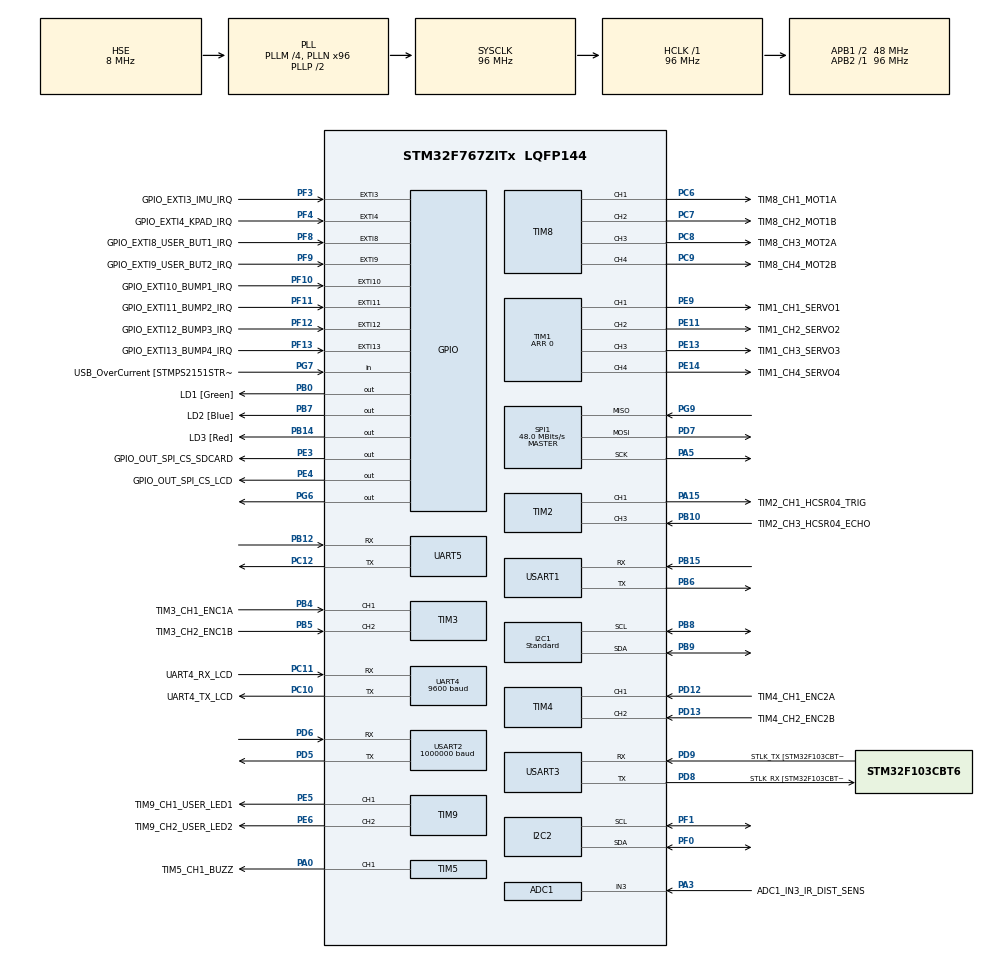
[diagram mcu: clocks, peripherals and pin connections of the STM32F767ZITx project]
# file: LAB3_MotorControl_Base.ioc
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ADC1.Channel-1\#ChannelRegularConversion=ADC_CHANNEL_3
ADC1.NbrOfConversionFlag=1
ADC1.Rank-1\#ChannelRegularConversion=1
ADC1.SamplingTime-1\#ChannelRegularConversion=ADC_SAMPLETIME_3CYCLES
ADC1.master=1
I2C1.I2C_Speed_Mode=I2C_Standard
I2C1.Timing=0x20303E5D
I2C2.Timing=0x20303E5D
Mcu.Family=STM32F7
Mcu.Name=STM32F767ZITx
Mcu.Package=LQFP144
Mcu.UserConstants=TIM3_ARR_VALUE,3839;TIM4_ARR_VALUE,3839;TIM8_PSC_VALUE,959;TIM8_ARR_VALUE,399;TIM6_PSC_VALUE,959;TIM6_ARR_VALUE,999;TIM1_PSC_VALUE,959;TIM1_ARR_VALUE,1999
NVIC.EXTI4_IRQn=true\:0\:0\:true\:false\:true\:true\:true\:true
NVIC.PriorityGroup=NVIC_PRIORITYGROUP_4
NVIC.TIM6_DAC_IRQn=true\:7\:0\:true\:false\:true\:true\:true\:true
PA0/WKUP.GPIO_Label=TIM5_CH1_BUZZ
PA0/WKUP.Signal=S_TIM5_CH1
PA1.GPIO_Label=RMII_REF_CLK [LAN8742A-CZ-TR_REFCLK0]
PA1.Signal=ETH_REF_CLK
PA10.GPIO_Label=USB_ID
PA10.Signal=USB_OTG_FS_ID
PA11.GPIO_Label=USB_DM
PA11.Signal=USB_OTG_FS_DM
PA12.GPIO_Label=USB_DP
PA12.Signal=USB_OTG_FS_DP
PA13.GPIO_Label=TMS
PA13.Mode=Serial_Wire
PA13.Signal=SYS_JTMS-SWDIO
PA14.GPIO_Label=TCK
PA14.Mode=Serial_Wire
PA14.Signal=SYS_JTCK-SWCLK
PA15.GPIO_Label=TIM2_CH1_HCSR04_TRIG
PA15.Signal=S_TIM2_CH1_ETR
PA2.GPIO_Label=RMII_MDIO [LAN8742A-CZ-TR_MDIO]
PA2.Signal=ETH_MDIO
PA3.GPIO_Label=ADC1_IN3_IR_DIST_SENS
PA3.Signal=ADCx_IN3
PA5.Mode=Full_Duplex_Master
PA5.Signal=SPI1_SCK
PA7.GPIO_Label=RMII_CRS_DV [LAN8742A-CZ-TR_CRS_DV]
PA7.Signal=ETH_CRS_DV
PA8.GPIO_Label=USB_SOF [TP1]
PA8.Signal=USB_OTG_FS_SOF
PA9.GPIO_Label=USB_VBUS
PA9.Signal=USB_OTG_FS_VBUS
PB0.GPIO_Label=LD1 [Green]
PB0.Signal=GPIO_Output
PB10.GPIO_Label=TIM2_CH3_HCSR04_ECHO
PB10.Signal=S_TIM2_CH3
PB12.Mode=Asynchronous
PB12.Signal=UART5_RX
PB13.GPIO_Label=RMII_TXD1 [LAN8742A-CZ-TR_TXD1]
PB13.Signal=ETH_TXD1
PB14.GPIO_Label=LD3 [Red]
PB14.Signal=GPIO_Output
PB15.Mode=Asynchronous
PB15.Signal=USART1_RX
PB3.GPIO_Label=SWO
PB3.Signal=SYS_JTDO-SWO
PB4.GPIO_Label=TIM3_CH1_ENC1A
PB4.Signal=S_TIM3_CH1
PB5.GPIO_Label=TIM3_CH2_ENC1B
PB5.Signal=S_TIM3_CH2
PB6.Mode=Asynchronous
PB6.Signal=USART1_TX
PB7.GPIO_Label=LD2 [Blue]
PB7.Signal=GPIO_Output
PB8.GPIO_Pu=GPIO_PULLUP
PB8.Mode=I2C
PB8.Signal=I2C1_SCL
PB9.GPIO_Pu=GPIO_PULLUP
PB9.Mode=I2C
PB9.Signal=I2C1_SDA
PC1.GPIO_Label=RMII_MDC [LAN8742A-CZ-TR_MDC]
PC1.Signal=ETH_MDC
PC10.GPIO_Label=UART4_TX_LCD
PC10.Mode=Asynchronous
PC10.Signal=UART4_TX
PC11.GPIO_Label=UART4_RX_LCD
PC11.Mode=Asynchronous
PC11.Signal=UART4_RX
PC12.Mode=Asynchronous
PC12.Signal=UART5_TX
PC14/OSC32_IN.Mode=LSE-External-Oscillator
PC14/OSC32_IN.Signal=RCC_OSC32_IN
PC15/OSC32_OUT.Mode=LSE-External-Oscillator
PC15/OSC32_OUT.Signal=RCC_OSC32_OUT
PC4.GPIO_Label=RMII_RXD0 [LAN8742A-CZ-TR_RXD0]
PC4.Signal=ETH_RXD0
PC5.GPIO_Label=RMII_RXD1 [LAN8742A-CZ-TR_RXD1]
PC5.Signal=ETH_RXD1
PC6.GPIO_Label=TIM8_CH1_MOT1A
PC6.Signal=S_TIM8_CH1
PC7.GPIO_Label=TIM8_CH2_MOT1B
PC7.Signal=S_TIM8_CH2
PC8.GPIO_Label=TIM8_CH3_MOT2A
PC8.Signal=S_TIM8_CH3
PC9.GPIO_Label=TIM8_CH4_MOT2B
PC9.Signal=S_TIM8_CH4
PD12.GPIO_Label=TIM4_CH1_ENC2A
PD12.Signal=S_TIM4_CH1
PD13.GPIO_Label=TIM4_CH2_ENC2B
PD13.Signal=S_TIM4_CH2
PD5.Mode=Asynchronous
PD5.Signal=USART2_TX
PD6.Mode=Asynchronous
PD6.Signal=USART2_RX
PD7.Mode=Full_Duplex_Master
PD7.Signal=SPI1_MOSI
PD8.GPIO_Label=STLK_RX [STM32F103CBT6_PA3]
PD8.Mode=Asynchronous
PD8.Signal=USART3_TX
PD9.GPIO_Label=STLK_TX [STM32F103CBT6_PA2]
PD9.Mode=Asynchronous
PD9.Signal=USART3_RX
PE11.GPIO_Label=TIM1_CH2_SERVO2
PE11.Signal=S_TIM1_CH2
PE13.GPIO_Label=TIM1_CH3_SERVO3
PE13.Signal=S_TIM1_CH3
PE14.GPIO_Label=TIM1_CH4_SERVO4
PE14.Signal=S_TIM1_CH4
PE3.GPIO_Label=GPIO_OUT_SPI_CS_SDCARD
PE3.Signal=GPIO_Output
PE4.GPIO_Label=GPIO_OUT_SPI_CS_LCD
PE4.Signal=GPIO_Output
PE5.GPIO_Label=TIM9_CH1_USER_LED1
PE5.Signal=S_TIM9_CH1
PE6.GPIO_Label=TIM9_CH2_USER_LED2
PE6.Signal=S_TIM9_CH2
PE9.GPIO_Label=TIM1_CH1_SERVO1
PE9.Signal=S_TIM1_CH1
PF0.GPIO_Pu=GPIO_PULLUP
PF0.Mode=I2C
PF0.Signal=I2C2_SDA
PF1.GPIO_Pu=GPIO_PULLUP
PF1.Mode=I2C
PF1.Signal=I2C2_SCL
PF10.GPIO_Label=GPIO_EXTI10_BUMP1_IRQ
PF10.Signal=GPXTI10
PF11.GPIO_Label=GPIO_EXTI11_BUMP2_IRQ
PF11.Signal=GPXTI11
PF12.GPIO_Label=GPIO_EXTI12_BUMP3_IRQ
PF12.Signal=GPXTI12
PF13.GPIO_Label=GPIO_EXTI13_BUMP4_IRQ
PF13.Signal=GPXTI13
PF3.GPIO_Label=GPIO_EXTI3_IMU_IRQ
PF3.Signal=GPXTI3
PF4.GPIO_Label=GPIO_EXTI4_KPAD_IRQ
PF4.GPIO_ModeDefaultEXTI=GPIO_MODE_IT_FALLING
PF4.Signal=GPXTI4
PF8.GPIO_Label=GPIO_EXTI8_USER_BUT1_IRQ
PF8.Signal=GPXTI8
PF9.GPIO_Label=GPIO_EXTI9_USER_BUT2_IRQ
PF9.Signal=GPXTI9
PG11.GPIO_Label=RMII_TX_EN [LAN8742A-CZ-TR_TXEN]
PG11.Signal=ETH_TX_EN
PG13.GPIO_Label=RMII_TXD0 [LAN8742A-CZ-TR_TXD0]
PG13.Signal=ETH_TXD0
PG6.Signal=GPIO_Output
PG7.GPIO_Label=USB_OverCurrent [STMPS2151STR_FAULT]
PG7.Signal=GPIO_Input
PG9.Mode=Full_Duplex_Master
PG9.Signal=SPI1_MISO
PH0/OSC_IN.GPIO_Label=MCO [STM32F103CBT6_PA8]
PH0/OSC_IN.Mode=HSE-External-Clock-Source
PH0/OSC_IN.Signal=RCC_OSC_IN
PH1/OSC_OUT.Mode=HSE-External-Clock-Source
PH1/OSC_OUT.Signal=RCC_OSC_OUT
ProjectManager.HeapSize=0x200
ProjectManager.StackSize=0x400
ProjectManager.TargetToolchain=STM32CubeIDE
RCC.48MHZClocksFreq_Value=24000000
RCC.AHBFreq_Value=96000000
RCC.APB1CLKDivider=RCC_HCLK_DIV2
RCC.APB1Freq_Value=48000000
RCC.APB1TimFreq_Value=96000000
RCC.APB2Freq_Value=96000000
RCC.APB2TimFreq_Value=96000000
RCC.CortexFreq_Value=96000000
RCC.HCLKFreq_Value=96000000
RCC.HSE_VALUE=8000000
RCC.HSI_VALUE=16000000
RCC.PLLM=4
RCC.PLLMUL=RCC_PLL_MUL9
RCC.PLLN=96
RCC.PLLQ=4
RCC.PLLSourceVirtual=RCC_PLLSOURCE_HSE
RCC.PRESCALERUSB=RCC_USBCLKSOURCE_PLL_DIV1_5
RCC.SYSCLKFreq_VALUE=96000000
RCC.SYSCLKSource=RCC_SYSCLKSOURCE_PLLCLK
RCC.SYSCLKSourceVirtual=RCC_SYSCLKSOURCE_PLLCLK
RCC.USBFreq_Value=48000000
RCC.VCOOutputFreq_Value=192000000
SH.ADCx_IN3.0=ADC1_IN3,IN3
SH.S_TIM1_CH1.0=TIM1_CH1,Forced Output1 CH1
SH.S_TIM1_CH2.0=TIM1_CH2,Forced Output2 CH2
SH.S_TIM1_CH3.0=TIM1_CH3,Forced Output3 CH3
SH.S_TIM1_CH4.0=TIM1_CH4,Forced Output4 CH4
SH.S_TIM2_CH1_ETR.0=TIM2_CH1,PWM Generation1 CH1
SH.S_TIM2_CH3.0=TIM2_CH3,Input_Capture3_from_TI3
SH.S_TIM3_CH1.0=TIM3_CH1,Encoder_Interface
SH.S_TIM3_CH2.0=TIM3_CH2,Encoder_Interface
SH.S_TIM4_CH1.0=TIM4_CH1,Encoder_Interface
SH.S_TIM4_CH2.0=TIM4_CH2,Encoder_Interface
SH.S_TIM5_CH1.0=TIM5_CH1,PWM Generation1 CH1
SH.S_TIM8_CH1.0=TIM8_CH1,PWM Generation1 CH1
SH.S_TIM8_CH2.0=TIM8_CH2,PWM Generation2 CH2
SH.S_TIM8_CH3.0=TIM8_CH3,PWM Generation3 CH3
SH.S_TIM8_CH4.0=TIM8_CH4,PWM Generation4 CH4
SH.S_TIM9_CH1.0=TIM9_CH1,PWM Generation1 CH1
SH.S_TIM9_CH2.0=TIM9_CH2,PWM Generation2 CH2
SPI1.CalculateBaudRate=48.0 MBits/s
SPI1.Direction=SPI_DIRECTION_2LINES
SPI1.Mode=SPI_MODE_MASTER
SPI1.VirtualType=VM_MASTER
TIM1.Channel-Forced\ Output1\ CH1=TIM_CHANNEL_1
TIM1.Channel-Forced\ Output2\ CH2=TIM_CHANNEL_2
TIM1.Channel-Forced\ Output3\ CH3=TIM_CHANNEL_3
TIM1.Channel-Forced\ Output4\ CH4=TIM_CHANNEL_4
TIM1.OCPolarity_1=TIM_OCPOLARITY_LOW
TIM1.OCPolarity_2=TIM_OCPOLARITY_LOW
TIM1.OCPolarity_3=TIM_OCPOLARITY_LOW
TIM1.OCPolarity_4=TIM_OCPOLARITY_LOW
TIM1.Period=0
TIM2.Channel-Input_Capture3_from_TI3=TIM_CHANNEL_3
TIM2.Channel-PWM\ Generation1\ CH1=TIM_CHANNEL_1
TIM3.EncoderMode=TIM_ENCODERMODE_TI12
TIM3.IC1Filter=15
TIM3.IC2Filter=15
TIM3.Period=TIM3_ARR_VALUE
TIM4.EncoderMode=TIM_ENCODERMODE_TI12
TIM4.IC1Filter=15
TIM4.IC2Filter=15
TIM4.Period=TIM4_ARR_VALUE
TIM5.Channel-PWM\ Generation1\ CH1=TIM_CHANNEL_1
TIM6.Period=TIM6_ARR_VALUE
TIM6.Prescaler=TIM6_PSC_VALUE
TIM8.Channel-PWM\ Generation1\ CH1=TIM_CHANNEL_1
TIM8.Channel-PWM\ Generation2\ CH2=TIM_CHANNEL_2
TIM8.Channel-PWM\ Generation3\ CH3=TIM_CHANNEL_3
TIM8.Channel-PWM\ Generation4\ CH4=TIM_CHANNEL_4
TIM8.Period=TIM8_ARR_VALUE
TIM8.Prescaler=TIM8_PSC_VALUE
TIM9.Channel-PWM\ Generation1\ CH1=TIM_CHANNEL_1
TIM9.Channel-PWM\ Generation2\ CH2=TIM_CHANNEL_2
UART4.BaudRate=9600
USART1.VirtualMode-Asynchronous=VM_ASYNC
USART2.BaudRate=1000000
USART2.VirtualMode-Asynchronous=VM_ASYNC
USART3.VirtualMode-Asynchronous=VM_ASYNC
VP_TIM1_VS_ClockSourceINT.Mode=Internal
VP_TIM2_VS_ClockSourceINT.Mode=Internal
VP_TIM5_VS_ClockSourceINT.Mode=Internal
VP_TIM6_VS_ClockSourceINT.Mode=Enable_Timer
VP_TIM8_VS_ClockSourceINT.Mode=Internal
board=NUCLEO-F767ZI

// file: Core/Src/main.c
/* USER CODE BEGIN Header */
/**
  ******************************************************************************
  * @file           : main.c
  * @brief          : Main program body
  ******************************************************************************
  * @attention
  *
  * <h2><center>&copy; Copyright (c) 2021 STMicroelectronics.
  * All rights reserved.</center></h2>
  *
  * This software component is licensed by ST under BSD 3-Clause license,
  * the "License"; You may not use this file except in compliance with the
  * License. You may obtain a copy of the License at:
  *                        opensource.org/licenses/BSD-3-Clause
  *
  ******************************************************************************
  */
/* USER CODE END Header */
#include "main.h"

/* USER CODE BEGIN Includes */
#include <math.h>
#include <stdbool.h>
#include "ertc-datalogger.h"
#include <stdio.h>
#include <string.h>
#include "SX1509_Registers.h"
/* USER CODE END Includes */

/* USER CODE BEGIN PD */
#define HAL_TIMEOUT 100

#define I2C_TIMEOUT 200

#define SX1509_I2C_ADDR1 0x3E //	SX1509 Proxy Sensors I2C address
#define SX1509_I2C_ADDR2 0x3F //	SX1509 Keypad I2C address

#define TIM3_ARR_VALUE 3840 // assuming we are using 4X encoder mode
#define TIM4_ARR_VALUE 3840

#define TS	0.01

#define Kp 2 //0.14 * 1/RPM2RADS
#define Ki 30 //2.14 * 1/RPM2RADS
#define Ts5 0.21 //settling time [s]
#define Kw 30//5/Ts5

#define V 2*M_PI/3840 /*how much radiant is in encoder step*/

#define VBATT	8.0
#define V2DUTY	((float)(TIM8_ARR_VALUE+1)/VBATT)
#define DUTY2V	((float)VBATT/(TIM8_ARR_VALUE+1))

#define RPM2RADS	2*M_PI/60

#define V_max 0.6 //[m/s] maximum linear speed
#define P_gainmax 18   //
#define r 0.034 //[m] wheel radius
#define D 0.165 //[m] wheel distance
#define H 0.085 //[m] distance between line sensor and vehicle's center
#define max_iter 100

/* USER CODE END PD */

ADC_HandleTypeDef hadc1;

I2C_HandleTypeDef hi2c1;
I2C_HandleTypeDef hi2c2;

SPI_HandleTypeDef hspi1;

TIM_HandleTypeDef htim1;
TIM_HandleTypeDef htim2;
TIM_HandleTypeDef htim3;
TIM_HandleTypeDef htim4;
TIM_HandleTypeDef htim5;
TIM_HandleTypeDef htim6;
TIM_HandleTypeDef htim8;
TIM_HandleTypeDef htim9;

UART_HandleTypeDef huart4;
UART_HandleTypeDef huart5;
UART_HandleTypeDef huart1;
UART_HandleTypeDef huart2;
UART_HandleTypeDef huart3;

/* USER CODE BEGIN PV */
struct ertc_dlog logger;
/* USER CODE END PV */

void SystemClock_Config(void);
static void MX_GPIO_Init(void);
static void MX_USART3_UART_Init(void);
static void MX_ADC1_Init(void);
static void MX_I2C1_Init(void);
static void MX_I2C2_Init(void);
static void MX_SPI1_Init(void);
static void MX_TIM1_Init(void);
static void MX_TIM2_Init(void);
static void MX_TIM3_Init(void);
static void MX_TIM4_Init(void);
static void MX_TIM5_Init(void);
static void MX_TIM8_Init(void);
static void MX_UART4_Init(void);
static void MX_UART5_Init(void);
static void MX_USART1_UART_Init(void);
static void MX_USART2_UART_Init(void);
static void MX_TIM9_Init(void);
static void MX_TIM6_Init(void);
/* USER CODE BEGIN PFP */
extern void initialise_monitor_handles(void);
/* USER CODE END PFP */

/* USER CODE BEGIN 0 */

struct datalog {
	float speed1,speed2;
	//float motor1,motor2;
	float lineRead;
} data;

uint8_t line_sensor=0;
float w[8] = {0.028, 0.02, 0.012, 0.004, -0.004, -0.012, -0.02, -0.028}; //Computation done off-line following the formula.

float target = 6; //[rad/s]

bool changedV = false;  //Boolean flag for changing V at half-frequency of the controller frequency
float V_cont = V_max;
float P_gain = P_gainmax;

float contAct1 = 0;
float contAct2 = 0;
float lineErr =0;
float psi_err =0;
float psi_dot =0;
float Vr =0;
float Vl =0;
float speed1 =0;
float speed2 =0;
float error1 =0;
float error2 =0;
int count_iter = max_iter;
int i=0;

float saturation(float value, float min, float max)
{
	if (value > max)
		value=max;
	else if (value < min)
		value=min;
	return value;
}

/*motor1*/
float PI1 (float error){
	float prop = Kp* error;
	static float I1 ;
	I1 = I1 + (TS * Ki * error);

	// ANTIWIND-UP

	float toReturn = prop+I1;
	float sat = toReturn - saturation(toReturn, -7.9, 7.9);
	I1 -= sat * Kw * TS;

	return saturation((prop + I1), -7.9, 7.9);
}

/*motor2*/
float PI2 (float error){
	float prop = Kp* error;
	static float I2 ;
	I2 = I2 + (TS * Ki * error);

	// ANTIWIND-UP

	float toReturn = prop+I2;
	float sat = toReturn - saturation((prop + I2), -7.9, 7.9);
	I2 -= sat * Kw * TS;

	return saturation((prop + I2), -7.9, 7.9);
}

int32_t encoder1(void){

	uint32_t TIM3_CurrentCount;
	int32_t TIM3_DiffCount;
	static uint32_t TIM3_PreviousCount = 0;
	TIM3_CurrentCount = __HAL_TIM_GET_COUNTER(&htim3);

	/* evaluate increment of TIM3 counter from previous count */
	if (__HAL_TIM_IS_TIM_COUNTING_DOWN(&htim3))
	{
		/* check for counter underflow */
		if (TIM3_CurrentCount <= TIM3_PreviousCount)
			TIM3_DiffCount = TIM3_CurrentCount - TIM3_PreviousCount;
		else
			TIM3_DiffCount = -((TIM3_ARR_VALUE+1) - TIM3_CurrentCount) - TIM3_PreviousCount;
	}
	else
	{
		/* check for counter overflow */
		if (TIM3_CurrentCount >= TIM3_PreviousCount)
			TIM3_DiffCount = TIM3_CurrentCount - TIM3_PreviousCount;
		else
			TIM3_DiffCount = ((TIM3_ARR_VALUE+1) - TIM3_PreviousCount) + TIM3_CurrentCount;
	}

	/*update of previous count*/
	TIM3_PreviousCount = TIM3_CurrentCount;

	return TIM3_DiffCount;

}

int32_t encoder2(void){

	uint32_t TIM4_CurrentCount;
	int32_t TIM4_DiffCount;
	static uint32_t TIM4_PreviousCount = 0;
	TIM4_CurrentCount = __HAL_TIM_GET_COUNTER(&htim4);

	/* evaluate increment of TIM4 counter from previous count */
	if (__HAL_TIM_IS_TIM_COUNTING_DOWN(&htim4))
	{
		/* check for counter underflow */
		if (TIM4_CurrentCount <= TIM4_PreviousCount)
			TIM4_DiffCount = TIM4_CurrentCount - TIM4_PreviousCount;
		else
			TIM4_DiffCount = -((TIM4_ARR_VALUE+1) - TIM4_CurrentCount) - TIM4_PreviousCount;
	}
	else
	{
		/* check for counter overflow */
		if (TIM4_CurrentCount >= TIM4_PreviousCount)
			TIM4_DiffCount = TIM4_CurrentCount - TIM4_PreviousCount;
		else
			TIM4_DiffCount = ((TIM4_ARR_VALUE+1) - TIM4_PreviousCount) + TIM4_CurrentCount;
	}

	/*update of previous count*/
	TIM4_PreviousCount = TIM4_CurrentCount;

	return TIM4_DiffCount;

}

void motor1_PWM (int32_t duty)
{
	if (duty >= 0) { // rotate forward

		/* alternate between forward and brake, TIM8_ARR_VALUE is a define */
		 //__HAL_TIM_SET_COMPARE(&htim8, TIM_CHANNEL_1, (uint32_t)TIM8_ARR_VALUE); /*max*/
		 //__HAL_TIM_SET_COMPARE(&htim8, TIM_CHANNEL_2, TIM8_ARR_VALUE - duty);

		/* alternate between forward and coast */
		 __HAL_TIM_SET_COMPARE(&htim8, TIM_CHANNEL_1, (uint32_t)duty);
		 __HAL_TIM_SET_COMPARE(&htim8, TIM_CHANNEL_2, 0);

	} else { // rotate backward

		/* alternate between forward and brake, TIM8_ARR_VALUE is a define */
		//__HAL_TIM_SET_COMPARE(&htim8, TIM_CHANNEL_1,  TIM8_ARR_VALUE + duty);
		//__HAL_TIM_SET_COMPARE(&htim8, TIM_CHANNEL_2, (uint32_t)TIM8_ARR_VALUE);

		/* alternate between forward and coast */
		 __HAL_TIM_SET_COMPARE(&htim8, TIM_CHANNEL_1, 0);
		 __HAL_TIM_SET_COMPARE(&htim8, TIM_CHANNEL_2, - (uint32_t)duty);
	}
}

void motor2_PWM (int32_t duty)
{
	if (duty >= 0) { // rotate forward

		/*alternate between forward and brake, TIM8_ARR_VALUE is a define */
		//__HAL_TIM_SET_COMPARE(&htim8, TIM_CHANNEL_3, (uint32_t)TIM8_ARR_VALUE); /*max*/
		//__HAL_TIM_SET_COMPARE(&htim8, TIM_CHANNEL_4, TIM8_ARR_VALUE - duty);

		/* alternate between forward and coast */
		 __HAL_TIM_SET_COMPARE(&htim8, TIM_CHANNEL_3, (uint32_t)duty);
		 __HAL_TIM_SET_COMPARE(&htim8, TIM_CHANNEL_4, 0);

	} else { // rotate backward

		/* alternate between forward and brake, TIM8_ARR_VALUE is a define */
		//__HAL_TIM_SET_COMPARE(&htim8, TIM_CHANNEL_3,  TIM8_ARR_VALUE + duty);
		//__HAL_TIM_SET_COMPARE(&htim8, TIM_CHANNEL_4, (uint32_t)TIM8_ARR_VALUE);

		/* alternate between forward and coast */
		 __HAL_TIM_SET_COMPARE(&htim8, TIM_CHANNEL_3, 0);
		 __HAL_TIM_SET_COMPARE(&htim8, TIM_CHANNEL_4, - (uint32_t)duty);
	}
}

float line_error(uint8_t sensor)
{
	float sum_Num=0;
	float sum_Den=0;

	for(int i=0; i<8; i++)
	{
		int value= (sensor&1);

		sum_Den += value;
		sum_Num += w[i]*value;

		sensor >>=1; //Shift right
	}

	return sum_Num/sum_Den;
}

void HAL_TIM_PeriodElapsedCallback(TIM_HandleTypeDef *htim)
{
	/* Speed ctrl routine */
	if(htim->Instance == TIM6)
	{

		// LINE SENSOR READING
		HAL_StatusTypeDef status1;
		status1 = HAL_I2C_Mem_Read(&hi2c1, SX1509_I2C_ADDR1 << 1, REG_DATA_B, 1, &line_sensor, 1, I2C_TIMEOUT);

		if (line_sensor != 0 || count_iter==0 )
		{
			count_iter = max_iter;
			lineErr = line_error(line_sensor);

			// DUMB CONTROLLER: FIRST APPROACH

			//float speedVar = lineErr*450; //TODO: To tune
			//float error1 = saturation((target+speedVar), 0, 25)- speed1;
			//float error2 = saturation((target-speedVar), 0, 25)- speed2;

			// YAW CONTROLLER FROM HANDOUTS

			psi_err = atan(lineErr/H);

			psi_dot = psi_err*P_gain;

			// Adaptive part for V_cont

			if (changedV)
			{
				if (abs(psi_err) < 0.01)
				{
					V_cont =  V_max * (1.2+i*0.1) ;
					P_gain = P_gainmax;
					i++;
				}
				else if (abs(psi_err) < 0.02)
				{
					i=0;
					V_cont = V_max * (-40*psi_err + 1.40);
					P_gain = P_gainmax + 16;
				}
				else // Big error
				{
					i=0;
					V_cont = V_max * 0.60;
					P_gain = P_gainmax + 36;
				}
				changedV = true;
			}
			else
				changedV = false;

			Vr = V_cont + psi_dot*D/2;
			Vl = V_cont - psi_dot*D/2;

			int32_t ENC1_DiffCount = encoder1();
			int32_t ENC2_DiffCount = encoder2();

			speed1 = ENC1_DiffCount * V *1/TS ; // [rad/s]
			speed2 = ENC2_DiffCount * V *1/TS ; // [rad/s]

			error1 = saturation((Vr/r), 0, 100) - speed1;
			error2 = saturation((Vl/r), 0, 100) - speed2;

			contAct1 = PI1(error1);
			contAct2 = PI2(error2);

		}
		else
			count_iter -= 1;

		motor1_PWM (contAct1*V2DUTY);
		motor2_PWM (contAct2*V2DUTY);

     	/*	Prepare data packet */
		data.speed1 = speed1;
		data.speed2 = speed2;
		//data.motor1 = contAct1;
		//data.motor2 = contAct2;
		data.lineRead  = lineErr;
		ertc_dlog_update(&logger);
		ertc_dlog_send(&logger, &data, sizeof(data));
	}
}

/* USER CODE END 0 */

int main(void)
{
  /* USER CODE BEGIN 1 */
	uint8_t data;
	HAL_StatusTypeDef status;
  /* USER CODE END 1 */

  /* MCU Configuration--------------------------------------------------------*/

  /* Reset of all peripherals, Initializes the Flash interface and the Systick. */
  HAL_Init();

  /* Configure the system clock */
  SystemClock_Config();

  /* Initialize all configured peripherals */
  MX_GPIO_Init();
  MX_USART3_UART_Init();
  MX_ADC1_Init();
  MX_I2C1_Init();
  MX_I2C2_Init();
  MX_SPI1_Init();
  MX_TIM1_Init();
  MX_TIM2_Init();
  MX_TIM3_Init();
  MX_TIM4_Init();
  MX_TIM5_Init();
  MX_TIM8_Init();
  MX_UART4_Init();
  MX_UART5_Init();
  MX_USART1_UART_Init();
  MX_USART2_UART_Init();
  MX_TIM9_Init();
  MX_TIM6_Init();
  /* USER CODE BEGIN 2 */

  //logger.uart_handle = huart3; // for serial
  logger.uart_handle = huart2; // for wifi

  /* Reset LCD */
  HAL_GPIO_WritePin(GPIO_OUT_SPI_CS_LCD_GPIO_Port, GPIO_OUT_SPI_CS_LCD_Pin, GPIO_PIN_SET);

  //disable EXTI4_IRQ during SX1509 initialization
  HAL_NVIC_DisableIRQ(EXTI4_IRQn);

  /* Software reset */
    data = 0x12;
    status = HAL_I2C_Mem_Write(&hi2c1, SX1509_I2C_ADDR2 << 1, REG_RESET, 1, &data, 1, I2C_TIMEOUT);
    //if (status != HAL_OK)ssh
      //printf("I2C communication error (%X).\n", status);

    data = 0x34;
    status = HAL_I2C_Mem_Write(&hi2c1, SX1509_I2C_ADDR2 << 1, REG_RESET, 1, &data, 1, I2C_TIMEOUT);
    //if (status != HAL_OK)
      //printf("I2C communication error (%X).\n", status);

    HAL_Delay(100);

    /* Set KeyPad scanning engine */

    /* Set RegClock to 0x40 (enable internal oscillator; 2MHz freq) */
    data = 0x40;
    status = HAL_I2C_Mem_Write(&hi2c1, SX1509_I2C_ADDR2 << 1, REG_CLOCK, 1, &data, 1, I2C_TIMEOUT);
    //if (status != HAL_OK)
      //printf("I2C communication error (%X).\n", status);

    /* Set Bank A RegDir to 0xF0 (IO[0:3] as out) */
    data = 0xF0;
    status = HAL_I2C_Mem_Write(&hi2c1, SX1509_I2C_ADDR2 << 1, REG_DIR_A, 1, &data, 1, I2C_TIMEOUT);
    //if (status != HAL_OK)
      //printf("I2C communication error (%X).\n", status);

    /* Set Bank B RegDir to 0x0F (IO[8:11] as in) */
    data = 0x0F;
    status = HAL_I2C_Mem_Write(&hi2c1, SX1509_I2C_ADDR2 << 1, REG_DIR_B, 1, &data, 1, I2C_TIMEOUT);
    //if (status != HAL_OK)
      //printf("I2C communication error (%X).\n", status);

    /* Set Bank A RegOpenDrain to 0x0F (IO[0:3] as open-drain outputs) */
    data = 0x0F;
    status = HAL_I2C_Mem_Write(&hi2c1, SX1509_I2C_ADDR2 << 1, REG_OPEN_DRAIN_A, 1, &data, 1, I2C_TIMEOUT);
    //if (status != HAL_OK)
      //printf("I2C communication error (%X).\n", status);

    /* Set Bank B RegPullup to 0x0F (pull-ups enabled on inputs IO[8:11]) */
    data = 0x0F;
    status = HAL_I2C_Mem_Write(&hi2c1, SX1509_I2C_ADDR2 << 1, REG_PULL_UP_B, 1, &data, 1, I2C_TIMEOUT);
    //if (status != HAL_OK)
      //printf("I2C communication error (%X).\n", status);

    /* Set Bank B RegDebounceEnable to 0x0F (enable debouncing on IO[8:11]) */
    data = 0x0F;
    status = HAL_I2C_Mem_Write(&hi2c1, SX1509_I2C_ADDR2 << 1, REG_DEBOUNCE_ENABLE_B, 1, &data, 1, I2C_TIMEOUT);
    //if (status != HAL_OK)
      //printf("I2C communication error (%X).\n", status);

    /* Set RegDebounceConfig to 0x05 (16ms debounce time) */
    data = 0x05;
    status = HAL_I2C_Mem_Write(&hi2c1, SX1509_I2C_ADDR2 << 1, REG_DEBOUNCE_CONFIG, 1, &data, 1, I2C_TIMEOUT);
    //if (status != HAL_OK)
      //printf("I2C communication error (%X).\n", status);

    /* Set RegKeyConfig1 to 0x7D (8s auto-sleep; 32ms scan time per row) */
    data = 0x7D;
    status = HAL_I2C_Mem_Write(&hi2c1, SX1509_I2C_ADDR2 << 1, REG_KEY_CONFIG_1, 1, &data, 1, I2C_TIMEOUT);
    //if (status != HAL_OK)
      //printf("I2C communication error (%X).\n", status);

    /* Set RegKeyConfig2 to 0x1B (4 rows; 4 columns) */
    data = 0x1B;
    status = HAL_I2C_Mem_Write(&hi2c1, SX1509_I2C_ADDR2 << 1, REG_KEY_CONFIG_2, 1, &data, 1, I2C_TIMEOUT);
    //if (status != HAL_OK)
      //printf("I2C communication error (%X).\n", status);

    /* Enable EXTI4_IRQ after SX1509 initialization */
    HAL_Delay(100);
    HAL_NVIC_EnableIRQ(EXTI4_IRQn);

    /* Disable EXTI2_IRQ during SX1509 initialization */
    HAL_NVIC_DisableIRQ(EXTI2_IRQn);

    /* Software reset */
    data = 0x12;
    status = HAL_I2C_Mem_Write(&hi2c1, SX1509_I2C_ADDR1 << 1, REG_RESET, 1, &data, 1, I2C_TIMEOUT);
    //if (status != HAL_OK)
      //printf("I2C communication error (%X).\n", status);

    data = 0x34;
    status = HAL_I2C_Mem_Write(&hi2c1, SX1509_I2C_ADDR1 << 1, REG_RESET, 1, &data, 1, I2C_TIMEOUT);
    //if (status != HAL_OK)
      //printf("I2C communication error (%X).\n", status);

    HAL_Delay(100);

    /* Set RegDirA to 0xFF (all IO of Bank A configured as inputs) */
    data = 0xFF; // 0 = out; 1 = in
    status = HAL_I2C_Mem_Write(&hi2c1, SX1509_I2C_ADDR1 << 1, REG_DIR_A, 1, &data, 1, I2C_TIMEOUT);
    //if (status != HAL_OK)
      //printf("I2C communication error (%X).\n", status);

    /* Set RegDirB to 0xFF (all IO of Bank B configured as inputs) */
    data = 0xFF; // 0 = out; 1 = in
    status = HAL_I2C_Mem_Write(&hi2c1, SX1509_I2C_ADDR1 << 1, REG_DIR_B, 1, &data, 1, I2C_TIMEOUT);
    //if (status != HAL_OK)
      //printf("I2C communication error (%X).\n", status);

    /* Set RegInterruptMaskA to 0x00 (all IO of Bank A will trigger an interrupt) */
    data = 0x00;
    status = HAL_I2C_Mem_Write(&hi2c1, SX1509_I2C_ADDR1 << 1, REG_INTERRUPT_MASK_A, 1, &data, 1, I2C_TIMEOUT);
    //if (status != HAL_OK)
      //printf("I2C communication error (%X).\n", status);

    /* Set RegSenseHighA to 0xAA (IO[7:4] of Bank A will trigger an interrupt on falling edge) */
    data = 0xAA;
    status = HAL_I2C_Mem_Write(&hi2c1, SX1509_I2C_ADDR1 << 1, REG_SENSE_HIGH_A, 1, &data, 1, I2C_TIMEOUT);
    //if (status != HAL_OK)
      //printf("I2C communication error (%X).\n", status);

    /* Set RegSenseLowA to 0xAA (IO[3:0] of Bank A will trigger an interrupt on falling edge) */
    data = 0xAA;
    status = HAL_I2C_Mem_Write(&hi2c1, SX1509_I2C_ADDR1 << 1, REG_SENSE_LOW_A, 1, &data, 1, I2C_TIMEOUT);
    //if (status != HAL_OK)
      //printf("I2C communication error (%X).\n", status);

    /* Enable EXTI2_IRQ after SX1509 initialization */
    HAL_Delay(100);
    //HAL_NVIC_EnableIRQ(EXTI2_IRQn);

  HAL_Delay(1000);

  /* Start encoders timers */
  HAL_TIM_Encoder_Start(&htim3, TIM_CHANNEL_ALL);
  HAL_TIM_Encoder_Start(&htim4, TIM_CHANNEL_ALL);

  /* Start servomotors PWM (avoid floating inputs to servomotors) */
  HAL_TIM_PWM_Start(&htim1, TIM_CHANNEL_1);
  HAL_TIM_PWM_Start(&htim1, TIM_CHANNEL_2);
  HAL_TIM_PWM_Start(&htim1, TIM_CHANNEL_3);
  HAL_TIM_PWM_Start(&htim1, TIM_CHANNEL_4);

  /* Start motor PWM */
  __HAL_TIM_SET_COMPARE(&htim8, TIM_CHANNEL_1, 0);
  __HAL_TIM_SET_COMPARE(&htim8, TIM_CHANNEL_2, 0);
  __HAL_TIM_SET_COMPARE(&htim8, TIM_CHANNEL_3, 0);
  __HAL_TIM_SET_COMPARE(&htim8, TIM_CHANNEL_4, 0);

  HAL_TIM_PWM_Start(&htim8, TIM_CHANNEL_1);
  HAL_TIM_PWM_Start(&htim8, TIM_CHANNEL_2);
  HAL_TIM_PWM_Start(&htim8, TIM_CHANNEL_3);
  HAL_TIM_PWM_Start(&htim8, TIM_CHANNEL_4);

  /* Start speed ctrl ISR */
  HAL_TIM_Base_Start_IT(&htim6);

  // HAL_Delay(5000);
  //target=6; //[rad/s]

  /* USER CODE END 2 */

  /* Infinite loop */
  while (1)
  {

  }
}

void SystemClock_Config(void)
{
  RCC_OscInitTypeDef RCC_OscInitStruct = {0};
  RCC_ClkInitTypeDef RCC_ClkInitStruct = {0};

  /** Configure LSE Drive Capability
  */
  HAL_PWR_EnableBkUpAccess();

  /** Configure the main internal regulator output voltage
  */
  __HAL_RCC_PWR_CLK_ENABLE();
  __HAL_PWR_VOLTAGESCALING_CONFIG(PWR_REGULATOR_VOLTAGE_SCALE3);

  /** Initializes the RCC Oscillators according to the specified parameters
  * in the RCC_OscInitTypeDef structure.
  */
  RCC_OscInitStruct.OscillatorType = RCC_OSCILLATORTYPE_HSE;
  RCC_OscInitStruct.HSEState = RCC_HSE_BYPASS;
  RCC_OscInitStruct.PLL.PLLState = RCC_PLL_ON;
  RCC_OscInitStruct.PLL.PLLSource = RCC_PLLSOURCE_HSE;
  RCC_OscInitStruct.PLL.PLLM = 4;
  RCC_OscInitStruct.PLL.PLLN = 96;
  RCC_OscInitStruct.PLL.PLLP = RCC_PLLP_DIV2;
  RCC_OscInitStruct.PLL.PLLQ = 4;
  RCC_OscInitStruct.PLL.PLLR = 2;
  if (HAL_RCC_OscConfig(&RCC_OscInitStruct) != HAL_OK)
  {
    Error_Handler();
  }

  /** Activate the Over-Drive mode
  */
  if (HAL_PWREx_EnableOverDrive() != HAL_OK)
  {
    Error_Handler();
  }

  /** Initializes the CPU, AHB and APB buses clocks
  */
  RCC_ClkInitStruct.ClockType = RCC_CLOCKTYPE_HCLK|RCC_CLOCKTYPE_SYSCLK
                              |RCC_CLOCKTYPE_PCLK1|RCC_CLOCKTYPE_PCLK2;
  RCC_ClkInitStruct.SYSCLKSource = RCC_SYSCLKSOURCE_PLLCLK;
  RCC_ClkInitStruct.AHBCLKDivider = RCC_SYSCLK_DIV1;
  RCC_ClkInitStruct.APB1CLKDivider = RCC_HCLK_DIV2;
  RCC_ClkInitStruct.APB2CLKDivider = RCC_HCLK_DIV1;

  if (HAL_RCC_ClockConfig(&RCC_ClkInitStruct, FLASH_LATENCY_3) != HAL_OK)
  {
    Error_Handler();
  }
}

static void MX_ADC1_Init(void)
{

  ADC_ChannelConfTypeDef sConfig = {0};

  /** Configure the global features of the ADC (Clock, Resolution, Data Alignment and number of conversion)
  */
  hadc1.Instance = ADC1;
  hadc1.Init.ClockPrescaler = ADC_CLOCK_SYNC_PCLK_DIV4;
  hadc1.Init.Resolution = ADC_RESOLUTION_12B;
  hadc1.Init.ScanConvMode = ADC_SCAN_DISABLE;
  hadc1.Init.ContinuousConvMode = DISABLE;
  hadc1.Init.DiscontinuousConvMode = DISABLE;
  hadc1.Init.ExternalTrigConvEdge = ADC_EXTERNALTRIGCONVEDGE_NONE;
  hadc1.Init.ExternalTrigConv = ADC_SOFTWARE_START;
  hadc1.Init.DataAlign = ADC_DATAALIGN_RIGHT;
  hadc1.Init.NbrOfConversion = 1;
  hadc1.Init.DMAContinuousRequests = DISABLE;
  hadc1.Init.EOCSelection = ADC_EOC_SINGLE_CONV;
  if (HAL_ADC_Init(&hadc1) != HAL_OK)
  {
    Error_Handler();
  }

  /** Configure for the selected ADC regular channel its corresponding rank in the sequencer and its sample time.
  */
  sConfig.Channel = ADC_CHANNEL_3;
  sConfig.Rank = ADC_REGULAR_RANK_1;
  sConfig.SamplingTime = ADC_SAMPLETIME_3CYCLES;
  if (HAL_ADC_ConfigChannel(&hadc1, &sConfig) != HAL_OK)
  {
    Error_Handler();
  }

}

static void MX_I2C1_Init(void)
{

  hi2c1.Instance = I2C1;
  hi2c1.Init.Timing = 0x20303E5D;
  hi2c1.Init.OwnAddress1 = 0;
  hi2c1.Init.AddressingMode = I2C_ADDRESSINGMODE_7BIT;
  hi2c1.Init.DualAddressMode = I2C_DUALADDRESS_DISABLE;
  hi2c1.Init.OwnAddress2 = 0;
  hi2c1.Init.OwnAddress2Masks = I2C_OA2_NOMASK;
  hi2c1.Init.GeneralCallMode = I2C_GENERALCALL_DISABLE;
  hi2c1.Init.NoStretchMode = I2C_NOSTRETCH_DISABLE;
  if (HAL_I2C_Init(&hi2c1) != HAL_OK)
  {
    Error_Handler();
  }

  /** Configure Analogue filter
  */
  if (HAL_I2CEx_ConfigAnalogFilter(&hi2c1, I2C_ANALOGFILTER_ENABLE) != HAL_OK)
  {
    Error_Handler();
  }

  /** Configure Digital filter
  */
  if (HAL_I2CEx_ConfigDigitalFilter(&hi2c1, 0) != HAL_OK)
  {
    Error_Handler();
  }

}

static void MX_I2C2_Init(void)
{

  hi2c2.Instance = I2C2;
  hi2c2.Init.Timing = 0x20303E5D;
  hi2c2.Init.OwnAddress1 = 0;
  hi2c2.Init.AddressingMode = I2C_ADDRESSINGMODE_7BIT;
  hi2c2.Init.DualAddressMode = I2C_DUALADDRESS_DISABLE;
  hi2c2.Init.OwnAddress2 = 0;
  hi2c2.Init.OwnAddress2Masks = I2C_OA2_NOMASK;
  hi2c2.Init.GeneralCallMode = I2C_GENERALCALL_DISABLE;
  hi2c2.Init.NoStretchMode = I2C_NOSTRETCH_DISABLE;
  if (HAL_I2C_Init(&hi2c2) != HAL_OK)
  {
    Error_Handler();
  }

  /** Configure Analogue filter
  */
  if (HAL_I2CEx_ConfigAnalogFilter(&hi2c2, I2C_ANALOGFILTER_ENABLE) != HAL_OK)
  {
    Error_Handler();
  }

  /** Configure Digital filter
  */
  if (HAL_I2CEx_ConfigDigitalFilter(&hi2c2, 0) != HAL_OK)
  {
    Error_Handler();
  }

}

static void MX_SPI1_Init(void)
{

  /* SPI1 parameter configuration*/
  hspi1.Instance = SPI1;
  hspi1.Init.Mode = SPI_MODE_MASTER;
  hspi1.Init.Direction = SPI_DIRECTION_2LINES;
  hspi1.Init.DataSize = SPI_DATASIZE_4BIT;
  hspi1.Init.CLKPolarity = SPI_POLARITY_LOW;
  hspi1.Init.CLKPhase = SPI_PHASE_1EDGE;
  hspi1.Init.NSS = SPI_NSS_SOFT;
  hspi1.Init.BaudRatePrescaler = SPI_BAUDRATEPRESCALER_2;
  hspi1.Init.FirstBit = SPI_FIRSTBIT_MSB;
  hspi1.Init.TIMode = SPI_TIMODE_DISABLE;
  hspi1.Init.CRCCalculation = SPI_CRCCALCULATION_DISABLE;
  hspi1.Init.CRCPolynomial = 7;
  hspi1.Init.CRCLength = SPI_CRC_LENGTH_DATASIZE;
  hspi1.Init.NSSPMode = SPI_NSS_PULSE_ENABLE;
  if (HAL_SPI_Init(&hspi1) != HAL_OK)
  {
    Error_Handler();
  }

}

static void MX_TIM1_Init(void)
{

  TIM_ClockConfigTypeDef sClockSourceConfig = {0};
  TIM_MasterConfigTypeDef sMasterConfig = {0};
  TIM_OC_InitTypeDef sConfigOC = {0};
  TIM_BreakDeadTimeConfigTypeDef sBreakDeadTimeConfig = {0};

  htim1.Instance = TIM1;
  htim1.Init.Prescaler = 0;
  htim1.Init.CounterMode = TIM_COUNTERMODE_UP;
  htim1.Init.Period = 0;
  htim1.Init.ClockDivision = TIM_CLOCKDIVISION_DIV1;
  htim1.Init.RepetitionCounter = 0;
  htim1.Init.AutoReloadPreload = TIM_AUTORELOAD_PRELOAD_DISABLE;
  if (HAL_TIM_Base_Init(&htim1) != HAL_OK)
  {
    Error_Handler();
  }
  sClockSourceConfig.ClockSource = TIM_CLOCKSOURCE_INTERNAL;
  if (HAL_TIM_ConfigClockSource(&htim1, &sClockSourceConfig) != HAL_OK)
  {
    Error_Handler();
  }
  if (HAL_TIM_OC_Init(&htim1) != HAL_OK)
  {
    Error_Handler();
  }
  sMasterConfig.MasterOutputTrigger = TIM_TRGO_RESET;
  sMasterConfig.MasterOutputTrigger2 = TIM_TRGO2_RESET;
  sMasterConfig.MasterSlaveMode = TIM_MASTERSLAVEMODE_DISABLE;
  if (HAL_TIMEx_MasterConfigSynchronization(&htim1, &sMasterConfig) != HAL_OK)
  {
    Error_Handler();
  }
  sConfigOC.OCMode = TIM_OCMODE_FORCED_ACTIVE;
  sConfigOC.Pulse = 0;
  sConfigOC.OCPolarity = TIM_OCPOLARITY_LOW;
  sConfigOC.OCNPolarity = TIM_OCNPOLARITY_HIGH;
  sConfigOC.OCFastMode = TIM_OCFAST_DISABLE;
  sConfigOC.OCIdleState = TIM_OCIDLESTATE_RESET;
  sConfigOC.OCNIdleState = TIM_OCNIDLESTATE_RESET;
  if (HAL_TIM_OC_ConfigChannel(&htim1, &sConfigOC, TIM_CHANNEL_1) != HAL_OK)
  {
    Error_Handler();
  }
  if (HAL_TIM_OC_ConfigChannel(&htim1, &sConfigOC, TIM_CHANNEL_2) != HAL_OK)
  {
    Error_Handler();
  }
  if (HAL_TIM_OC_ConfigChannel(&htim1, &sConfigOC, TIM_CHANNEL_3) != HAL_OK)
  {
    Error_Handler();
  }
  if (HAL_TIM_OC_ConfigChannel(&htim1, &sConfigOC, TIM_CHANNEL_4) != HAL_OK)
  {
    Error_Handler();
  }
  sBreakDeadTimeConfig.OffStateRunMode = TIM_OSSR_DISABLE;
  sBreakDeadTimeConfig.OffStateIDLEMode = TIM_OSSI_DISABLE;
  sBreakDeadTimeConfig.LockLevel = TIM_LOCKLEVEL_OFF;
  sBreakDeadTimeConfig.DeadTime = 0;
  sBreakDeadTimeConfig.BreakState = TIM_BREAK_DISABLE;
  sBreakDeadTimeConfig.BreakPolarity = TIM_BREAKPOLARITY_HIGH;
  sBreakDeadTimeConfig.BreakFilter = 0;
  sBreakDeadTimeConfig.Break2State = TIM_BREAK2_DISABLE;
  sBreakDeadTimeConfig.Break2Polarity = TIM_BREAK2POLARITY_HIGH;
  sBreakDeadTimeConfig.Break2Filter = 0;
  sBreakDeadTimeConfig.AutomaticOutput = TIM_AUTOMATICOUTPUT_DISABLE;
  if (HAL_TIMEx_ConfigBreakDeadTime(&htim1, &sBreakDeadTimeConfig) != HAL_OK)
  {
    Error_Handler();
  }
  HAL_TIM_MspPostInit(&htim1);

}

static void MX_TIM2_Init(void)
{

  TIM_ClockConfigTypeDef sClockSourceConfig = {0};
  TIM_MasterConfigTypeDef sMasterConfig = {0};
  TIM_OC_InitTypeDef sConfigOC = {0};
  TIM_IC_InitTypeDef sConfigIC = {0};

  htim2.Instance = TIM2;
  htim2.Init.Prescaler = 0;
  htim2.Init.CounterMode = TIM_COUNTERMODE_UP;
  htim2.Init.Period = 4294967295;
  htim2.Init.ClockDivision = TIM_CLOCKDIVISION_DIV1;
  htim2.Init.AutoReloadPreload = TIM_AUTORELOAD_PRELOAD_DISABLE;
  if (HAL_TIM_Base_Init(&htim2) != HAL_OK)
  {
    Error_Handler();
  }
  sClockSourceConfig.ClockSource = TIM_CLOCKSOURCE_INTERNAL;
  if (HAL_TIM_ConfigClockSource(&htim2, &sClockSourceConfig) != HAL_OK)
  {
    Error_Handler();
  }
  if (HAL_TIM_PWM_Init(&htim2) != HAL_OK)
  {
    Error_Handler();
  }
  if (HAL_TIM_IC_Init(&htim2) != HAL_OK)
  {
    Error_Handler();
  }
  sMasterConfig.MasterOutputTrigger = TIM_TRGO_RESET;
  sMasterConfig.MasterSlaveMode = TIM_MASTERSLAVEMODE_DISABLE;
  if (HAL_TIMEx_MasterConfigSynchronization(&htim2, &sMasterConfig) != HAL_OK)
  {
    Error_Handler();
  }
  sConfigOC.OCMode = TIM_OCMODE_PWM1;
  sConfigOC.Pulse = 0;
  sConfigOC.OCPolarity = TIM_OCPOLARITY_HIGH;
  sConfigOC.OCFastMode = TIM_OCFAST_DISABLE;
  if (HAL_TIM_PWM_ConfigChannel(&htim2, &sConfigOC, TIM_CHANNEL_1) != HAL_OK)
  {
    Error_Handler();
  }
  sConfigIC.ICPolarity = TIM_INPUTCHANNELPOLARITY_RISING;
  sConfigIC.ICSelection = TIM_ICSELECTION_DIRECTTI;
  sConfigIC.ICPrescaler = TIM_ICPSC_DIV1;
  sConfigIC.ICFilter = 0;
  if (HAL_TIM_IC_ConfigChannel(&htim2, &sConfigIC, TIM_CHANNEL_3) != HAL_OK)
  {
    Error_Handler();
  }
  HAL_TIM_MspPostInit(&htim2);

}

static void MX_TIM3_Init(void)
{

  TIM_Encoder_InitTypeDef sConfig = {0};
  TIM_MasterConfigTypeDef sMasterConfig = {0};

  htim3.Instance = TIM3;
  htim3.Init.Prescaler = 0;
  htim3.Init.CounterMode = TIM_COUNTERMODE_UP;
  htim3.Init.Period = TIM3_ARR_VALUE;
  htim3.Init.ClockDivision = TIM_CLOCKDIVISION_DIV1;
  htim3.Init.AutoReloadPreload = TIM_AUTORELOAD_PRELOAD_DISABLE;
  sConfig.EncoderMode = TIM_ENCODERMODE_TI12;
  sConfig.IC1Polarity = TIM_ICPOLARITY_RISING;
  sConfig.IC1Selection = TIM_ICSELECTION_DIRECTTI;
  sConfig.IC1Prescaler = TIM_ICPSC_DIV1;
  sConfig.IC1Filter = 15;
  sConfig.IC2Polarity = TIM_ICPOLARITY_RISING;
  sConfig.IC2Selection = TIM_ICSELECTION_DIRECTTI;
  sConfig.IC2Prescaler = TIM_ICPSC_DIV1;
  sConfig.IC2Filter = 15;
  if (HAL_TIM_Encoder_Init(&htim3, &sConfig) != HAL_OK)
  {
    Error_Handler();
  }
  sMasterConfig.MasterOutputTrigger = TIM_TRGO_RESET;
  sMasterConfig.MasterSlaveMode = TIM_MASTERSLAVEMODE_DISABLE;
  if (HAL_TIMEx_MasterConfigSynchronization(&htim3, &sMasterConfig) != HAL_OK)
  {
    Error_Handler();
  }

}

static void MX_TIM4_Init(void)
{

  TIM_Encoder_InitTypeDef sConfig = {0};
  TIM_MasterConfigTypeDef sMasterConfig = {0};

  htim4.Instance = TIM4;
  htim4.Init.Prescaler = 0;
  htim4.Init.CounterMode = TIM_COUNTERMODE_UP;
  htim4.Init.Period = TIM4_ARR_VALUE;
  htim4.Init.ClockDivision = TIM_CLOCKDIVISION_DIV1;
  htim4.Init.AutoReloadPreload = TIM_AUTORELOAD_PRELOAD_DISABLE;
  sConfig.EncoderMode = TIM_ENCODERMODE_TI12;
  sConfig.IC1Polarity = TIM_ICPOLARITY_RISING;
  sConfig.IC1Selection = TIM_ICSELECTION_DIRECTTI;
  sConfig.IC1Prescaler = TIM_ICPSC_DIV1;
  sConfig.IC1Filter = 15;
  sConfig.IC2Polarity = TIM_ICPOLARITY_RISING;
  sConfig.IC2Selection = TIM_ICSELECTION_DIRECTTI;
  sConfig.IC2Prescaler = TIM_ICPSC_DIV1;
  sConfig.IC2Filter = 15;
  if (HAL_TIM_Encoder_Init(&htim4, &sConfig) != HAL_OK)
  {
    Error_Handler();
  }
  sMasterConfig.MasterOutputTrigger = TIM_TRGO_RESET;
  sMasterConfig.MasterSlaveMode = TIM_MASTERSLAVEMODE_DISABLE;
  if (HAL_TIMEx_MasterConfigSynchronization(&htim4, &sMasterConfig) != HAL_OK)
  {
    Error_Handler();
  }

}

static void MX_TIM5_Init(void)
{

  TIM_ClockConfigTypeDef sClockSourceConfig = {0};
  TIM_MasterConfigTypeDef sMasterConfig = {0};
  TIM_OC_InitTypeDef sConfigOC = {0};

  htim5.Instance = TIM5;
  htim5.Init.Prescaler = 0;
  htim5.Init.CounterMode = TIM_COUNTERMODE_UP;
  htim5.Init.Period = 4294967295;
  htim5.Init.ClockDivision = TIM_CLOCKDIVISION_DIV1;
  htim5.Init.AutoReloadPreload = TIM_AUTORELOAD_PRELOAD_DISABLE;
  if (HAL_TIM_Base_Init(&htim5) != HAL_OK)
  {
    Error_Handler();
  }
  sClockSourceConfig.ClockSource = TIM_CLOCKSOURCE_INTERNAL;
  if (HAL_TIM_ConfigClockSource(&htim5, &sClockSourceConfig) != HAL_OK)
  {
    Error_Handler();
  }
  if (HAL_TIM_PWM_Init(&htim5) != HAL_OK)
  {
    Error_Handler();
  }
  sMasterConfig.MasterOutputTrigger = TIM_TRGO_RESET;
  sMasterConfig.MasterSlaveMode = TIM_MASTERSLAVEMODE_DISABLE;
  if (HAL_TIMEx_MasterConfigSynchronization(&htim5, &sMasterConfig) != HAL_OK)
  {
    Error_Handler();
  }
  sConfigOC.OCMode = TIM_OCMODE_PWM1;
  sConfigOC.Pulse = 0;
  sConfigOC.OCPolarity = TIM_OCPOLARITY_HIGH;
  sConfigOC.OCFastMode = TIM_OCFAST_DISABLE;
  if (HAL_TIM_PWM_ConfigChannel(&htim5, &sConfigOC, TIM_CHANNEL_1) != HAL_OK)
  {
    Error_Handler();
  }
  HAL_TIM_MspPostInit(&htim5);

}

static void MX_TIM6_Init(void)
{

  TIM_MasterConfigTypeDef sMasterConfig = {0};

  htim6.Instance = TIM6;
  htim6.Init.Prescaler = TIM6_PSC_VALUE;
  htim6.Init.CounterMode = TIM_COUNTERMODE_UP;
  htim6.Init.Period = TIM6_ARR_VALUE;
  htim6.Init.AutoReloadPreload = TIM_AUTORELOAD_PRELOAD_DISABLE;
  if (HAL_TIM_Base_Init(&htim6) != HAL_OK)
  {
    Error_Handler();
  }
  sMasterConfig.MasterOutputTrigger = TIM_TRGO_RESET;
  sMasterConfig.MasterSlaveMode = TIM_MASTERSLAVEMODE_DISABLE;
  if (HAL_TIMEx_MasterConfigSynchronization(&htim6, &sMasterConfig) != HAL_OK)
  {
    Error_Handler();
  }

}

static void MX_TIM8_Init(void)
{

  TIM_ClockConfigTypeDef sClockSourceConfig = {0};
  TIM_MasterConfigTypeDef sMasterConfig = {0};
  TIM_OC_InitTypeDef sConfigOC = {0};
  TIM_BreakDeadTimeConfigTypeDef sBreakDeadTimeConfig = {0};

  htim8.Instance = TIM8;
  htim8.Init.Prescaler = TIM8_PSC_VALUE;
  htim8.Init.CounterMode = TIM_COUNTERMODE_UP;
  htim8.Init.Period = TIM8_ARR_VALUE;
  htim8.Init.ClockDivision = TIM_CLOCKDIVISION_DIV1;
  htim8.Init.RepetitionCounter = 0;
  htim8.Init.AutoReloadPreload = TIM_AUTORELOAD_PRELOAD_DISABLE;
  if (HAL_TIM_Base_Init(&htim8) != HAL_OK)
  {
    Error_Handler();
  }
  sClockSourceConfig.ClockSource = TIM_CLOCKSOURCE_INTERNAL;
  if (HAL_TIM_ConfigClockSource(&htim8, &sClockSourceConfig) != HAL_OK)
  {
    Error_Handler();
  }
  if (HAL_TIM_PWM_Init(&htim8) != HAL_OK)
  {
    Error_Handler();
  }
  sMasterConfig.MasterOutputTrigger = TIM_TRGO_RESET;
  sMasterConfig.MasterOutputTrigger2 = TIM_TRGO2_RESET;
  sMasterConfig.MasterSlaveMode = TIM_MASTERSLAVEMODE_DISABLE;
  if (HAL_TIMEx_MasterConfigSynchronization(&htim8, &sMasterConfig) != HAL_OK)
  {
    Error_Handler();
  }
  sConfigOC.OCMode = TIM_OCMODE_PWM1;
  sConfigOC.Pulse = 0;
  sConfigOC.OCPolarity = TIM_OCPOLARITY_HIGH;
  sConfigOC.OCNPolarity = TIM_OCNPOLARITY_HIGH;
  sConfigOC.OCFastMode = TIM_OCFAST_DISABLE;
  sConfigOC.OCIdleState = TIM_OCIDLESTATE_RESET;
  sConfigOC.OCNIdleState = TIM_OCNIDLESTATE_RESET;
  if (HAL_TIM_PWM_ConfigChannel(&htim8, &sConfigOC, TIM_CHANNEL_1) != HAL_OK)
  {
    Error_Handler();
  }
  if (HAL_TIM_PWM_ConfigChannel(&htim8, &sConfigOC, TIM_CHANNEL_2) != HAL_OK)
  {
    Error_Handler();
  }
  if (HAL_TIM_PWM_ConfigChannel(&htim8, &sConfigOC, TIM_CHANNEL_3) != HAL_OK)
  {
    Error_Handler();
  }
  if (HAL_TIM_PWM_ConfigChannel(&htim8, &sConfigOC, TIM_CHANNEL_4) != HAL_OK)
  {
    Error_Handler();
  }
  sBreakDeadTimeConfig.OffStateRunMode = TIM_OSSR_DISABLE;
  sBreakDeadTimeConfig.OffStateIDLEMode = TIM_OSSI_DISABLE;
  sBreakDeadTimeConfig.LockLevel = TIM_LOCKLEVEL_OFF;
  sBreakDeadTimeConfig.DeadTime = 0;
  sBreakDeadTimeConfig.BreakState = TIM_BREAK_DISABLE;
  sBreakDeadTimeConfig.BreakPolarity = TIM_BREAKPOLARITY_HIGH;
  sBreakDeadTimeConfig.BreakFilter = 0;
  sBreakDeadTimeConfig.Break2State = TIM_BREAK2_DISABLE;
  sBreakDeadTimeConfig.Break2Polarity = TIM_BREAK2POLARITY_HIGH;
  sBreakDeadTimeConfig.Break2Filter = 0;
  sBreakDeadTimeConfig.AutomaticOutput = TIM_AUTOMATICOUTPUT_DISABLE;
  if (HAL_TIMEx_ConfigBreakDeadTime(&htim8, &sBreakDeadTimeConfig) != HAL_OK)
  {
    Error_Handler();
  }
  HAL_TIM_MspPostInit(&htim8);

}

static void MX_TIM9_Init(void)
{

  TIM_OC_InitTypeDef sConfigOC = {0};

  htim9.Instance = TIM9;
  htim9.Init.Prescaler = 0;
  htim9.Init.CounterMode = TIM_COUNTERMODE_UP;
  htim9.Init.Period = 65535;
  htim9.Init.ClockDivision = TIM_CLOCKDIVISION_DIV1;
  htim9.Init.AutoReloadPreload = TIM_AUTORELOAD_PRELOAD_DISABLE;
  if (HAL_TIM_PWM_Init(&htim9) != HAL_OK)
  {
    Error_Handler();
  }
  sConfigOC.OCMode = TIM_OCMODE_PWM1;
  sConfigOC.Pulse = 0;
  sConfigOC.OCPolarity = TIM_OCPOLARITY_HIGH;
  sConfigOC.OCFastMode = TIM_OCFAST_DISABLE;
  if (HAL_TIM_PWM_ConfigChannel(&htim9, &sConfigOC, TIM_CHANNEL_1) != HAL_OK)
  {
    Error_Handler();
  }
  if (HAL_TIM_PWM_ConfigChannel(&htim9, &sConfigOC, TIM_CHANNEL_2) != HAL_OK)
  {
    Error_Handler();
  }
  HAL_TIM_MspPostInit(&htim9);

}

static void MX_UART4_Init(void)
{

  huart4.Instance = UART4;
  huart4.Init.BaudRate = 9600;
  huart4.Init.WordLength = UART_WORDLENGTH_8B;
  huart4.Init.StopBits = UART_STOPBITS_1;
  huart4.Init.Parity = UART_PARITY_NONE;
  huart4.Init.Mode = UART_MODE_TX_RX;
  huart4.Init.HwFlowCtl = UART_HWCONTROL_NONE;
  huart4.Init.OverSampling = UART_OVERSAMPLING_16;
  huart4.Init.OneBitSampling = UART_ONE_BIT_SAMPLE_DISABLE;
  huart4.AdvancedInit.AdvFeatureInit = UART_ADVFEATURE_NO_INIT;
  if (HAL_UART_Init(&huart4) != HAL_OK)
  {
    Error_Handler();
  }

}

static void MX_UART5_Init(void)
{

  huart5.Instance = UART5;
  huart5.Init.BaudRate = 115200;
  huart5.Init.WordLength = UART_WORDLENGTH_8B;
  huart5.Init.StopBits = UART_STOPBITS_1;
  huart5.Init.Parity = UART_PARITY_NONE;
  huart5.Init.Mode = UART_MODE_TX_RX;
  huart5.Init.HwFlowCtl = UART_HWCONTROL_NONE;
  huart5.Init.OverSampling = UART_OVERSAMPLING_16;
  huart5.Init.OneBitSampling = UART_ONE_BIT_SAMPLE_DISABLE;
  huart5.AdvancedInit.AdvFeatureInit = UART_ADVFEATURE_NO_INIT;
  if (HAL_UART_Init(&huart5) != HAL_OK)
  {
    Error_Handler();
  }

}

static void MX_USART1_UART_Init(void)
{

  huart1.Instance = USART1;
  huart1.Init.BaudRate = 115200;
  huart1.Init.WordLength = UART_WORDLENGTH_8B;
  huart1.Init.StopBits = UART_STOPBITS_1;
  huart1.Init.Parity = UART_PARITY_NONE;
  huart1.Init.Mode = UART_MODE_TX_RX;
  huart1.Init.HwFlowCtl = UART_HWCONTROL_NONE;
  huart1.Init.OverSampling = UART_OVERSAMPLING_16;
  huart1.Init.OneBitSampling = UART_ONE_BIT_SAMPLE_DISABLE;
  huart1.AdvancedInit.AdvFeatureInit = UART_ADVFEATURE_NO_INIT;
  if (HAL_UART_Init(&huart1) != HAL_OK)
  {
    Error_Handler();
  }

}

static void MX_USART2_UART_Init(void)
{

  huart2.Instance = USART2;
  huart2.Init.BaudRate = 1000000;
  huart2.Init.WordLength = UART_WORDLENGTH_8B;
  huart2.Init.StopBits = UART_STOPBITS_1;
  huart2.Init.Parity = UART_PARITY_NONE;
  huart2.Init.Mode = UART_MODE_TX_RX;
  huart2.Init.HwFlowCtl = UART_HWCONTROL_NONE;
  huart2.Init.OverSampling = UART_OVERSAMPLING_16;
  huart2.Init.OneBitSampling = UART_ONE_BIT_SAMPLE_DISABLE;
  huart2.AdvancedInit.AdvFeatureInit = UART_ADVFEATURE_NO_INIT;
  if (HAL_UART_Init(&huart2) != HAL_OK)
  {
    Error_Handler();
  }

}

static void MX_USART3_UART_Init(void)
{

  huart3.Instance = USART3;
  huart3.Init.BaudRate = 115200;
  huart3.Init.WordLength = UART_WORDLENGTH_8B;
  huart3.Init.StopBits = UART_STOPBITS_1;
  huart3.Init.Parity = UART_PARITY_NONE;
  huart3.Init.Mode = UART_MODE_TX_RX;
  huart3.Init.HwFlowCtl = UART_HWCONTROL_NONE;
  huart3.Init.OverSampling = UART_OVERSAMPLING_16;
  huart3.Init.OneBitSampling = UART_ONE_BIT_SAMPLE_DISABLE;
  huart3.AdvancedInit.AdvFeatureInit = UART_ADVFEATURE_NO_INIT;
  if (HAL_UART_Init(&huart3) != HAL_OK)
  {
    Error_Handler();
  }

}

static void MX_GPIO_Init(void)
{
  GPIO_InitTypeDef GPIO_InitStruct = {0};

  /* GPIO Ports Clock Enable */
  __HAL_RCC_GPIOE_CLK_ENABLE();
  __HAL_RCC_GPIOC_CLK_ENABLE();
  __HAL_RCC_GPIOF_CLK_ENABLE();
  __HAL_RCC_GPIOH_CLK_ENABLE();
  __HAL_RCC_GPIOA_CLK_ENABLE();
  __HAL_RCC_GPIOB_CLK_ENABLE();
  __HAL_RCC_GPIOD_CLK_ENABLE();
  __HAL_RCC_GPIOG_CLK_ENABLE();

  /*Configure GPIO pin Output Level */
  HAL_GPIO_WritePin(GPIOE, GPIO_OUT_SPI_CS_SDCARD_Pin|GPIO_OUT_SPI_CS_LCD_Pin, GPIO_PIN_RESET);

  /*Configure GPIO pin Output Level */
  HAL_GPIO_WritePin(GPIOB, LD1_Pin|LD3_Pin|LD2_Pin, GPIO_PIN_RESET);

  /*Configure GPIO pin Output Level */
  HAL_GPIO_WritePin(GPIOG, GPIO_PIN_6, GPIO_PIN_RESET);

  /*Configure GPIO pins : GPIO_OUT_SPI_CS_SDCARD_Pin GPIO_OUT_SPI_CS_LCD_Pin */
  GPIO_InitStruct.Pin = GPIO_OUT_SPI_CS_SDCARD_Pin|GPIO_OUT_SPI_CS_LCD_Pin;
  GPIO_InitStruct.Mode = GPIO_MODE_OUTPUT_PP;
  GPIO_InitStruct.Pull = GPIO_NOPULL;
  GPIO_InitStruct.Speed = GPIO_SPEED_FREQ_LOW;
  HAL_GPIO_Init(GPIOE, &GPIO_InitStruct);

  /*Configure GPIO pins : GPIO_EXTI3_IMU_IRQ_Pin GPIO_EXTI8_USER_BUT1_IRQ_Pin GPIO_EXTI9_USER_BUT2_IRQ_Pin GPIO_EXTI10_BUMP1_IRQ_Pin
                           GPIO_EXTI11_BUMP2_IRQ_Pin GPIO_EXTI12_BUMP3_IRQ_Pin GPIO_EXTI13_BUMP4_IRQ_Pin */
  GPIO_InitStruct.Pin = GPIO_EXTI3_IMU_IRQ_Pin|GPIO_EXTI8_USER_BUT1_IRQ_Pin|GPIO_EXTI9_USER_BUT2_IRQ_Pin|GPIO_EXTI10_BUMP1_IRQ_Pin
                          |GPIO_EXTI11_BUMP2_IRQ_Pin|GPIO_EXTI12_BUMP3_IRQ_Pin|GPIO_EXTI13_BUMP4_IRQ_Pin;
  GPIO_InitStruct.Mode = GPIO_MODE_IT_RISING;
  GPIO_InitStruct.Pull = GPIO_NOPULL;
  HAL_GPIO_Init(GPIOF, &GPIO_InitStruct);

  /*Configure GPIO pin : GPIO_EXTI4_KPAD_IRQ_Pin */
  GPIO_InitStruct.Pin = GPIO_EXTI4_KPAD_IRQ_Pin;
  GPIO_InitStruct.Mode = GPIO_MODE_IT_FALLING;
  GPIO_InitStruct.Pull = GPIO_NOPULL;
  HAL_GPIO_Init(GPIO_EXTI4_KPAD_IRQ_GPIO_Port, &GPIO_InitStruct);

  /*Configure GPIO pins : RMII_MDC_Pin RMII_RXD0_Pin RMII_RXD1_Pin */
  GPIO_InitStruct.Pin = RMII_MDC_Pin|RMII_RXD0_Pin|RMII_RXD1_Pin;
  GPIO_InitStruct.Mode = GPIO_MODE_AF_PP;
  GPIO_InitStruct.Pull = GPIO_NOPULL;
  GPIO_InitStruct.Speed = GPIO_SPEED_FREQ_VERY_HIGH;
  GPIO_InitStruct.Alternate = GPIO_AF11_ETH;
  HAL_GPIO_Init(GPIOC, &GPIO_InitStruct);

  /*Configure GPIO pins : RMII_REF_CLK_Pin RMII_MDIO_Pin RMII_CRS_DV_Pin */
  GPIO_InitStruct.Pin = RMII_REF_CLK_Pin|RMII_MDIO_Pin|RMII_CRS_DV_Pin;
  GPIO_InitStruct.Mode = GPIO_MODE_AF_PP;
  GPIO_InitStruct.Pull = GPIO_NOPULL;
  GPIO_InitStruct.Speed = GPIO_SPEED_FREQ_VERY_HIGH;
  GPIO_InitStruct.Alternate = GPIO_AF11_ETH;
  HAL_GPIO_Init(GPIOA, &GPIO_InitStruct);

  /*Configure GPIO pins : LD1_Pin LD3_Pin LD2_Pin */
  GPIO_InitStruct.Pin = LD1_Pin|LD3_Pin|LD2_Pin;
  GPIO_InitStruct.Mode = GPIO_MODE_OUTPUT_PP;
  GPIO_InitStruct.Pull = GPIO_NOPULL;
  GPIO_InitStruct.Speed = GPIO_SPEED_FREQ_LOW;
  HAL_GPIO_Init(GPIOB, &GPIO_InitStruct);

  /*Configure GPIO pin : RMII_TXD1_Pin */
  GPIO_InitStruct.Pin = RMII_TXD1_Pin;
  GPIO_InitStruct.Mode = GPIO_MODE_AF_PP;
  GPIO_InitStruct.Pull = GPIO_NOPULL;
  GPIO_InitStruct.Speed = GPIO_SPEED_FREQ_VERY_HIGH;
  GPIO_InitStruct.Alternate = GPIO_AF11_ETH;
  HAL_GPIO_Init(RMII_TXD1_GPIO_Port, &GPIO_InitStruct);

  /*Configure GPIO pin : PG6 */
  GPIO_InitStruct.Pin = GPIO_PIN_6;
  GPIO_InitStruct.Mode = GPIO_MODE_OUTPUT_PP;
  GPIO_InitStruct.Pull = GPIO_NOPULL;
  GPIO_InitStruct.Speed = GPIO_SPEED_FREQ_LOW;
  HAL_GPIO_Init(GPIOG, &GPIO_InitStruct);

  /*Configure GPIO pin : USB_OverCurrent_Pin */
  GPIO_InitStruct.Pin = USB_OverCurrent_Pin;
  GPIO_InitStruct.Mode = GPIO_MODE_INPUT;
  GPIO_InitStruct.Pull = GPIO_NOPULL;
  HAL_GPIO_Init(USB_OverCurrent_GPIO_Port, &GPIO_InitStruct);

  /*Configure GPIO pins : USB_SOF_Pin USB_ID_Pin USB_DM_Pin USB_DP_Pin */
  GPIO_InitStruct.Pin = USB_SOF_Pin|USB_ID_Pin|USB_DM_Pin|USB_DP_Pin;
  GPIO_InitStruct.Mode = GPIO_MODE_AF_PP;
  GPIO_InitStruct.Pull = GPIO_NOPULL;
  GPIO_InitStruct.Speed = GPIO_SPEED_FREQ_VERY_HIGH;
  GPIO_InitStruct.Alternate = GPIO_AF10_OTG_FS;
  HAL_GPIO_Init(GPIOA, &GPIO_InitStruct);

  /*Configure GPIO pin : USB_VBUS_Pin */
  GPIO_InitStruct.Pin = USB_VBUS_Pin;
  GPIO_InitStruct.Mode = GPIO_MODE_INPUT;
  GPIO_InitStruct.Pull = GPIO_NOPULL;
  HAL_GPIO_Init(USB_VBUS_GPIO_Port, &GPIO_InitStruct);

  /*Configure GPIO pins : RMII_TX_EN_Pin RMII_TXD0_Pin */
  GPIO_InitStruct.Pin = RMII_TX_EN_Pin|RMII_TXD0_Pin;
  GPIO_InitStruct.Mode = GPIO_MODE_AF_PP;
  GPIO_InitStruct.Pull = GPIO_NOPULL;
  GPIO_InitStruct.Speed = GPIO_SPEED_FREQ_VERY_HIGH;
  GPIO_InitStruct.Alternate = GPIO_AF11_ETH;
  HAL_GPIO_Init(GPIOG, &GPIO_InitStruct);

  /* EXTI interrupt init*/
  HAL_NVIC_SetPriority(EXTI4_IRQn, 0, 0);
  HAL_NVIC_EnableIRQ(EXTI4_IRQn);

}

void Error_Handler(void)
{
  __disable_irq();
  while (1)
  {
  }
}
